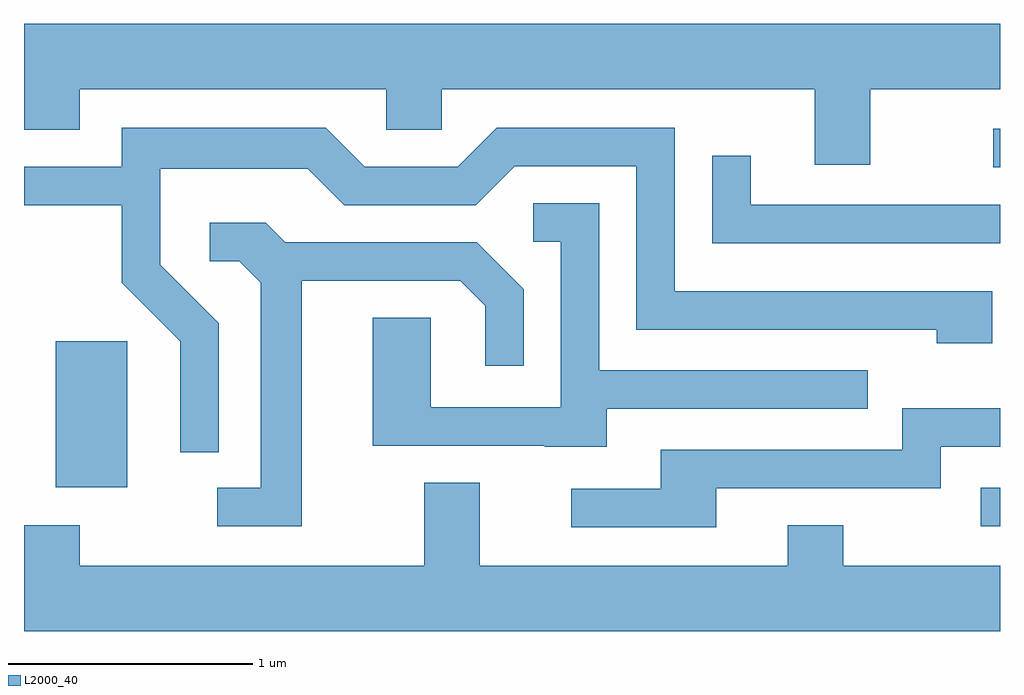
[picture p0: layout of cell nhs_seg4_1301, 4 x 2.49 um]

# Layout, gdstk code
import gdstk
lib = gdstk.Library(unit=1e-6, precision=1e-09)
def R(c, l, rs):  # rectangles x0, y0, x1, y1
    for r in rs: c.add(gdstk.rectangle(r[:2], r[2:], *l))
def P(c, l, *ps):  # polygons
    for p in ps: c.add(gdstk.Polygon(p, *l))
L2000_40 = (2000, 40)

nhs_seg4_1301 = lib.new_cell('nhs_seg4_1301')
R(nhs_seg4_1301, L2000_40, [(227.533,1272.966,227.611,1273.124), (223.741,1273.126,224.034,1273.724), (227.583,1274.436,227.611,1274.594)])
P(nhs_seg4_1301, L2000_40, [(227.079,1274.756),(227.611,1274.756),(227.611,1275.024),(223.611,1275.024),(223.611,1274.591),(223.839,1274.591),(223.839,1274.756),(225.096,1274.756),(225.096,1274.591),(225.324,1274.591),(225.324,1274.756),(226.851,1274.756),(226.851,1274.446),(227.079,1274.446)],
  [(224.409,1273.797),(224.169,1274.037),(224.169,1274.431),(224.774,1274.431),(224.924,1274.281),(225.462,1274.281),(225.622,1274.441),(226.121,1274.441),(226.121,1273.771),(227.351,1273.771),(227.351,1273.716),(227.579,1273.716),(227.579,1273.929),(226.279,1273.929),(226.279,1274.599),(225.549,1274.599),(225.389,1274.439),(225.007,1274.439),(224.847,1274.599),(224.011,1274.599),(224.011,1274.439),(223.611,1274.439),(223.611,1274.281),(224.011,1274.281),(224.011,1273.964),(224.251,1273.724),(224.251,1273.268),(224.409,1273.268)],
  [(227.611,1274.284),(226.589,1274.284),(226.589,1274.483),(226.431,1274.483),(226.431,1274.126),(227.611,1274.126)],
  [(225.999,1273.446),(227.068,1273.446),(227.068,1273.604),(225.969,1273.604),(225.969,1274.289),(225.698,1274.289),(225.698,1274.131),(225.811,1274.131),(225.811,1273.454),(225.279,1273.454),(225.279,1273.819),(225.041,1273.819),(225.041,1273.296),(225.745,1273.296),(225.745,1273.291),(225.999,1273.291)],
  [(224.749,1273.971),(225.399,1273.971),(225.501,1273.869),(225.501,1273.623),(225.659,1273.623),(225.659,1273.937),(225.467,1274.129),(224.682,1274.129),(224.602,1274.209),(224.373,1274.209),(224.373,1274.051),(224.494,1274.051),(224.581,1273.964),(224.581,1273.124),(224.403,1273.124),(224.403,1272.966),(224.749,1272.966)],
  [(226.449,1273.121),(227.369,1273.121),(227.369,1273.291),(227.611,1273.291),(227.611,1273.449),(227.211,1273.449),(227.211,1273.279),(226.221,1273.279),(226.221,1273.119),(225.853,1273.119),(225.853,1272.961),(226.449,1272.961)],
  [(227.611,1272.804),(226.969,1272.804),(226.969,1272.969),(226.741,1272.969),(226.741,1272.804),(225.479,1272.804),(225.479,1273.144),(225.251,1273.144),(225.251,1272.804),(223.839,1272.804),(223.839,1272.969),(223.611,1272.969),(223.611,1272.536),(227.611,1272.536)])

lib.write_gds('nhs_seg4_1301.gds')
